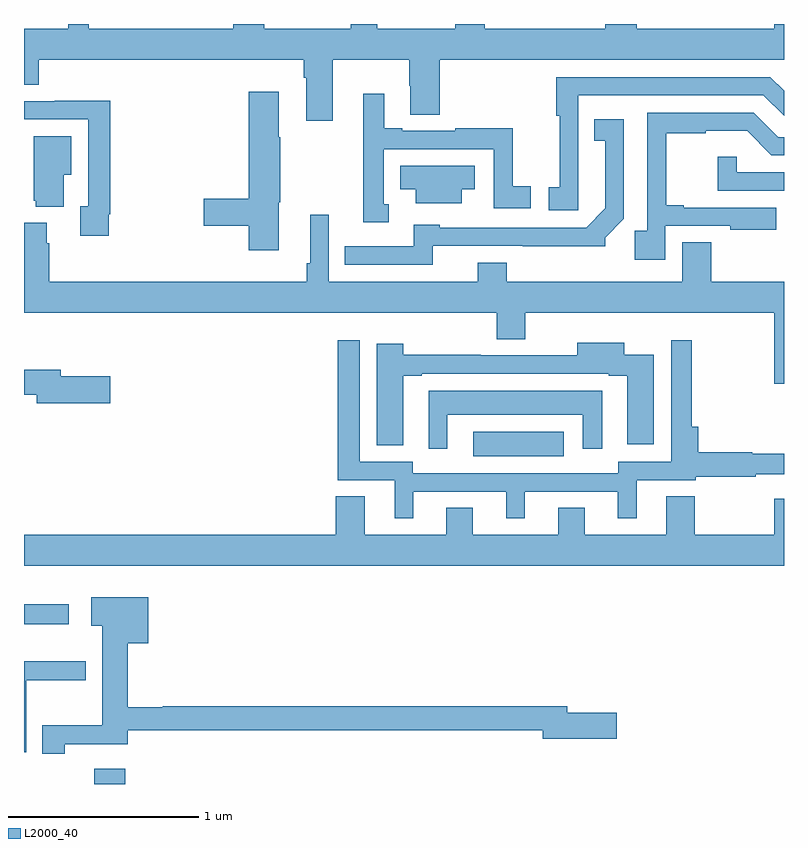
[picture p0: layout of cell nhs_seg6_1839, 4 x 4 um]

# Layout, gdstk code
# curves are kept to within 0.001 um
import gdstk
lib = gdstk.Library(unit=1e-6, precision=1e-09)
def R(c, l, rs):  # rectangles x0, y0, x1, y1
    for r in rs: c.add(gdstk.rectangle(r[:2], r[2:], *l))
def P(c, l, *ps):  # polygons
    for p in ps: c.add(gdstk.Polygon(p, *l))
L2000_40 = (2000, 40)

nhs_seg6_1839 = lib.new_cell('nhs_seg6_1839')
R(nhs_seg6_1839, L2000_40, [(221.369,967.5,221.534,967.579), (221,968.342,221.236,968.446), (223.365,969.224,223.84,969.355)])
P(nhs_seg6_1839, L2000_40, [(222.625,971.312),(223.027,971.312),(223.027,971.174),(223.034,971.174),(223.034,971.023),(223.187,971.023),(223.187,971.312),(225,971.312),(225,971.5),(224.948,971.5),(224.948,971.476),(224.224,971.476),(224.224,971.5),(224.06,971.5),(224.06,971.476),(223.424,971.476),(223.424,971.5),(223.271,971.5),(223.271,971.476),(222.859,971.476),(222.859,971.5),(222.719,971.5),(222.719,971.476),(222.265,971.476),(222.265,971.5),(222.101,971.5),(222.101,971.476),(221.341,971.476),(221.341,971.5),(221.232,971.5),(221.232,971.476),(221,971.476),(221,971.179),(221.078,971.179),(221.078,971.312),(222.473,971.312),(222.473,971.216),(222.485,971.216),(222.485,970.992),(222.625,970.992)],
  [(223.918,970.796),(223.917,971.124),(224.892,971.124),(225,971.016),(225,971.148),(224.928,971.22),(223.801,971.22),(223.801,971.017),(223.819,971.017),(223.819,970.641),(223.761,970.641),(223.761,970.521),(223.918,970.521)],
  [(222.34,970.563),(222.348,970.563),(222.348,970.904),(222.34,970.904),(222.34,971.143),(222.182,971.143),(222.182,970.58),(221.946,970.58),(221.946,970.438),(222.182,970.438),(222.182,970.308),(222.34,970.308)],
  [(222.919,970.551),(222.894,970.551),(222.894,970.842),(223.473,970.842),(223.473,970.53),(223.666,970.53),(223.666,970.646),(223.572,970.646),(223.572,970.951),(223.27,970.951),(223.27,970.938),(222.991,970.938),(222.991,970.951),(222.895,970.951),(222.895,971.134),(222.785,971.134),(222.785,970.889),(222.786,970.889),(222.786,970.457),(222.919,970.457)],
  [(221.446,970.498),(221.453,970.498),(221.453,971.096),(221.161,971.096),(221.161,971.094),(221,971.094),(221,970.998),(221.337,970.998),(221.337,970.542),(221.297,970.542),(221.297,970.386),(221.446,970.386)],
  [(224.376,970.437),(224.717,970.437),(224.717,970.418),(224.96,970.418),(224.96,970.533),(224.473,970.533),(224.473,970.546),(224.381,970.546),(224.381,970.926),(224.588,970.926),(224.588,970.937),(224.806,970.937),(224.934,970.809),(225,970.809),(225,970.905),(224.97,970.905),(224.841,971.034),(224.28,971.034),(224.28,970.411),(224.215,970.411),(224.215,970.26),(224.376,970.26)],
  [(223.152,970.332),(224.058,970.331),(224.058,970.375),(224.157,970.474),(224.157,970.999),(224.002,970.999),(224.002,970.886),(224.06,970.886),(224.06,970.529),(223.959,970.428),(223.188,970.428),(223.188,970.444),(223.052,970.444),(223.052,970.329),(222.688,970.329),(222.688,970.233),(223.152,970.233)],
  [(221.209,970.706),(221.248,970.706),(221.248,970.909),(221.051,970.909),(221.051,970.569),(221.063,970.569),(221.063,970.538),(221.209,970.538)],
  [(225,970.719),(224.751,970.719),(224.751,970.801),(224.65,970.801),(224.65,970.623),(225,970.623)],
  [(223.303,970.631),(223.372,970.631),(223.372,970.753),(222.979,970.753),(222.979,970.631),(223.061,970.631),(223.061,970.556),(223.303,970.556)],
  [(225,970.144),(224.618,970.144),(224.618,970.352),(224.465,970.352),(224.465,970.144),(223.541,970.144),(223.541,970.243),(223.388,970.243),(223.388,970.144),(222.603,970.144),(222.603,970.495),(222.506,970.495),(222.506,970.24),(222.487,970.24),(222.487,970.144),(221.132,970.144),(221.132,970.346),(221.119,970.346),(221.119,970.453),(221,970.453),(221,969.98),(223.487,969.98),(223.487,969.841),(223.639,969.841),(223.639,969.98),(224.948,969.98),(224.948,969.606),(225,969.606)],
  [(223.048,969.039),(223.538,969.039),(223.538,968.898),(223.636,968.898),(223.636,969.039),(224.126,969.039),(224.126,968.898),(224.224,968.898),(224.224,969.099),(224.536,969.099),(224.536,969.117),(224.852,969.117),(224.852,969.129),(225,969.129),(225,969.238),(224.832,969.238),(224.832,969.245),(224.549,969.245),(224.549,969.379),(224.515,969.379),(224.515,969.835),(224.406,969.835),(224.406,969.195),(224.127,969.195),(224.127,969.135),(223.047,969.135),(223.047,969.195),(222.768,969.195),(222.768,969.835),(222.652,969.835),(222.652,969.099),(222.95,969.099),(222.95,968.898),(223.048,968.898)],
  [(222.997,969.648),(223.093,969.648),(223.093,969.66),(224.078,969.66),(224.078,969.648),(224.174,969.648),(224.174,969.288),(224.314,969.288),(224.314,969.759),(224.158,969.759),(224.158,969.823),(223.913,969.823),(223.913,969.756),(223.403,969.756),(223.403,969.759),(222.995,969.759),(222.995,969.817),(222.857,969.817),(222.857,969.282),(222.997,969.282)],
  [(221.455,969.645),(221.194,969.645),(221.194,969.679),(221,969.679),(221,969.55),(221.066,969.55),(221.066,969.503),(221.455,969.503)],
  [(223.228,969.443),(223.94,969.443),(223.94,969.264),(224.044,969.264),(224.044,969.571),(223.13,969.571),(223.13,969.264),(223.228,969.264)],
  [(225,969.001),(224.948,969.001),(224.948,968.812),(224.529,968.812),(224.529,969.014),(224.381,969.014),(224.381,968.812),(223.951,968.812),(223.951,968.954),(223.811,968.954),(223.811,968.812),(223.363,968.812),(223.363,968.954),(223.223,968.954),(223.223,968.812),(222.793,968.812),(222.793,969.014),(222.641,969.014),(222.641,968.812),(221,968.812),(221,968.648),(225,968.648)],
  [(221.214,967.709),(221.546,967.709),(221.546,967.782),(223.73,967.782),(223.73,967.739),(224.119,967.739),(224.119,967.874),(223.858,967.874),(223.858,967.91),(221.729,967.91),(221.729,967.903),(221.546,967.903),(221.546,968.24),(221.653,968.24),(221.653,968.482),(221.355,968.482),(221.355,968.333),(221.411,968.333),(221.411,967.809),(221.096,967.809),(221.096,967.659),(221.214,967.659)],
  [(221.011,968.047),(221.326,968.047),(221.326,968.147),(221,968.147),(221,967.667),(221.011,967.667)])

lib.write_gds('nhs_seg6_1839.gds')
